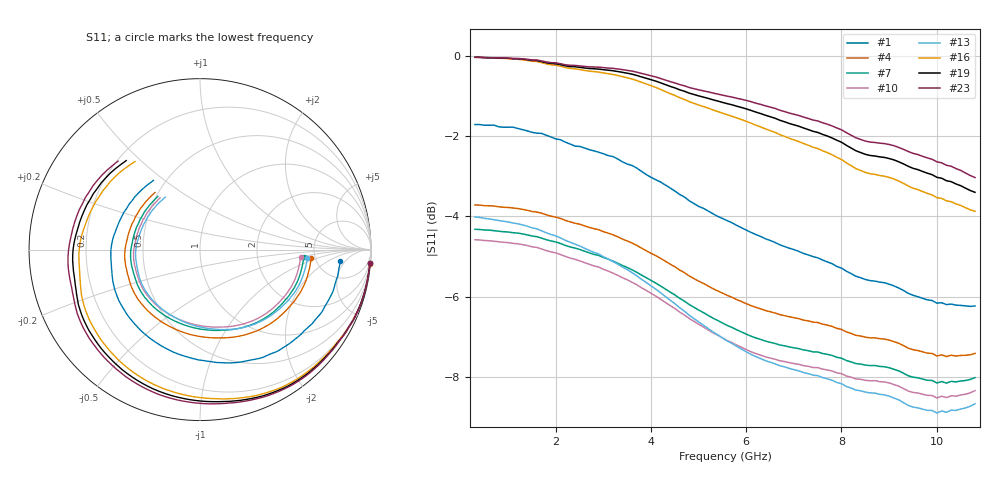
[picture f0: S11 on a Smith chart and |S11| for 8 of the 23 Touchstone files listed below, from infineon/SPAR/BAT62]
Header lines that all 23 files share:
! Infineon Technologies  Discrete & RF Semiconductors
! BAT62
! One-Port S-Parameters
# Hz  S  MA  R  50
!f  S11
!Hz  Mag  Ang
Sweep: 309.9 MHz to 10.8 GHz
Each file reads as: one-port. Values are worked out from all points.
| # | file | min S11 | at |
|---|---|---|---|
| 1 | BAT62_IAC_0.1mA.s1p | -6.2 dB | 10.7 GHz |
| 2 | BAT62_IAC_0.2mA.s1p | -6.7 dB | 10.7 GHz |
| 3 | BAT62_IAC_0.3mA.s1p | -7.2 dB | 10.2 GHz |
| 4 | BAT62_IAC_0.4mA.s1p | -7.5 dB | 10.2 GHz |
| 5 | BAT62_IAC_0.5mA.s1p | -7.8 dB | 10.2 GHz |
| 6 | BAT62_IAC_0.6mA.s1p | -8.0 dB | 10.2 GHz |
| 7 | BAT62_IAC_0.7mA.s1p | -8.2 dB | 10.2 GHz |
| 8 | BAT62_IAC_0.8mA.s1p | -8.3 dB | 10.01 GHz |
| 9 | BAT62_IAC_0.9mA.s1p | -8.4 dB | 10.01 GHz |
| 10 | BAT62_IAC_1mA.s1p | -8.5 dB | 10.01 GHz |
| 11 | BAT62_IAC_2mA.s1p | -9.2 dB | 10.01 GHz |
| 12 | BAT62_IAC_3mA.s1p | -9.3 dB | 10.01 GHz |
| 13 | BAT62_IAC_4mA.s1p | -8.9 dB | 10.01 GHz |
| 14 | BAT62_VCA_0.1V.s1p | -4.4 dB | 10.8 GHz |
| 15 | BAT62_VCA_0.2V.s1p | -4.1 dB | 10.8 GHz |
| 16 | BAT62_VCA_0.3V.s1p | -3.9 dB | 10.8 GHz |
| 17 | BAT62_VCA_0.4V.s1p | -3.7 dB | 10.8 GHz |
| 18 | BAT62_VCA_0.5V.s1p | -3.5 dB | 10.8 GHz |
| 19 | BAT62_VCA_0.6V.s1p | -3.4 dB | 10.8 GHz |
| 20 | BAT62_VCA_0.7V.s1p | -3.3 dB | 10.8 GHz |
| 21 | BAT62_VCA_0.8V.s1p | -3.2 dB | 10.8 GHz |
| 22 | BAT62_VCA_0.9V.s1p | -3.1 dB | 10.8 GHz |
| 23 | BAT62_VCA_1V.s1p | -3.0 dB | 10.8 GHz |
